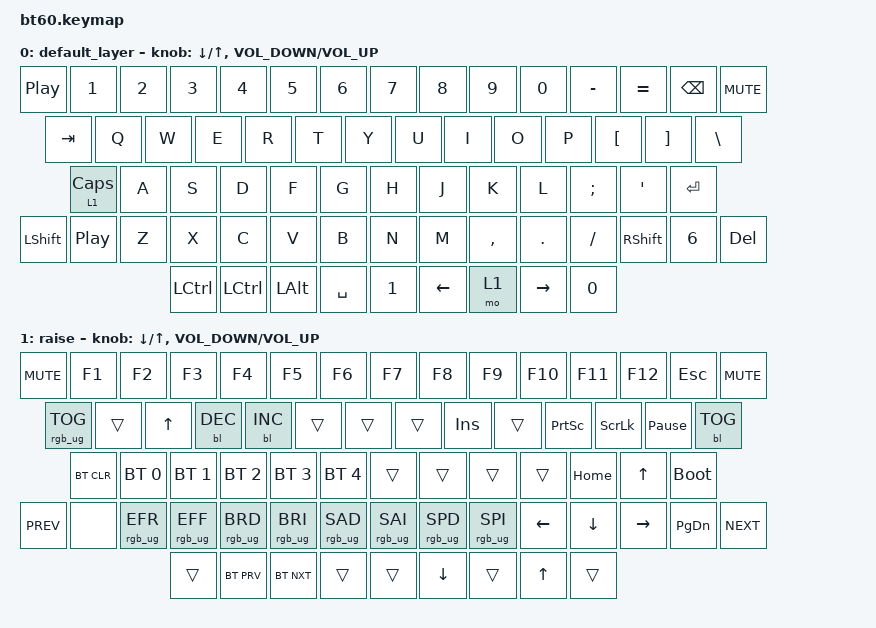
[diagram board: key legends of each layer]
#include <behaviors.dtsi>
#include <dt-bindings/zmk/backlight.h>
#include <dt-bindings/zmk/bt.h>
#include <dt-bindings/zmk/keys.h>
#include <dt-bindings/zmk/rgb.h>

/ {
    keymap {
        compatible = "zmk,keymap";

        default_layer {
            // ------------------------------------------------------------------------------------------
            // | ESC |  1  |  2  |  3  |  4  |  5  |  6  |  7  |  8  |  9  |  0  |  -  |  =  |BKSP | DEL |
            // | TAB  |  Q  |  W  |  E  |  R  |  T  |  Y  |  U  |  I  |  O  |  P  |  [  |  ]  |  |   |
            // | CAPS  |  A  |  S  |  D  |  F  |  G  |  H  |  J  |  K  |  L  |  ;  |  '  |     ENTER    |
            // |  SHIFT|NONE|  Z  |  X  |  C  |  V  |  B  |  N  |  M  |  ,  |  .  | /   | SHFT | UP | 1  |
            // |  CTL  |  WIN  |  ALT  |            SPACE              | ALT | CTRL | LEFT | DOWN | RIGHT |
            // ------------------------------------------------------------------------------------------

            bindings = <
&kp C_PLAY_PAUSE     &kp N1            &kp N2    &kp N3     &kp N4  &kp N5    &kp N6  &kp N7     &kp N8        &kp N9    &kp N0  &kp MINUS        &kp EQUAL  &kp BACKSPACE  &kp C_MUTE
         &kp TAB      &kp Q             &kp W     &kp E      &kp R   &kp T     &kp Y   &kp U      &kp I         &kp O     &kp P   &kp LBKT         &kp RBKT  &kp BACKSLASH
  &lt 1 CAPSLOCK      &kp A             &kp S     &kp D      &kp F   &kp G     &kp H   &kp J      &kp K         &kp L  &kp SEMI    &kp SQT          &kp RET
       &kp LSHFT   &kp C_PP             &kp Z     &kp X      &kp C   &kp V     &kp B   &kp N      &kp M     &kp COMMA   &kp DOT   &kp FSLH  &kp RIGHT_SHIFT   &kp NUMBER_6     &kp DEL
                  &kp LCTRL  &kp LEFT_CONTROL  &kp LALT  &kp SPACE  &kp N1  &kp LEFT   &mo 1  &kp RIGHT  &kp NUMBER_0
            >;

            sensor-bindings = <&inc_dec_kp DOWN_ARROW UP_ARROW &inc_dec_kp C_VOLUME_DOWN C_VOLUME_UP>;
        };

        raise {
            bindings = <
     &kp C_MUTE        &kp F1           &kp F2           &kp F3           &kp F4           &kp F5           &kp F6           &kp F7           &kp F8           &kp F9         &kp F10         &kp F11          &kp F12  &kp ESCAPE  &kp C_MUTE
&rgb_ug RGB_TOG        &trans           &kp UP       &bl BL_DEC       &bl BL_INC           &trans           &trans           &trans          &kp INS           &trans       &kp PSCRN        &kp SLCK  &kp PAUSE_BREAK  &bl BL_TOG
     &bt BT_CLR  &bt BT_SEL 0     &bt BT_SEL 1     &bt BT_SEL 2     &bt BT_SEL 3     &bt BT_SEL 4           &trans           &trans           &trans           &trans        &kp HOME    &kp UP_ARROW      &bootloader
     &kp C_PREV         &none  &rgb_ug RGB_EFR  &rgb_ug RGB_EFF  &rgb_ug RGB_BRD  &rgb_ug RGB_BRI  &rgb_ug RGB_SAD  &rgb_ug RGB_SAI  &rgb_ug RGB_SPD  &rgb_ug RGB_SPI  &kp LEFT_ARROW  &kp DOWN_ARROW  &kp RIGHT_ARROW   &kp PG_DN  &kp C_NEXT
                       &trans       &bt BT_PRV       &bt BT_NXT           &trans           &trans         &kp DOWN           &trans           &kp UP           &trans
            >;

            sensor-bindings = <&inc_dec_kp DOWN_ARROW UP_ARROW &inc_dec_kp C_VOLUME_DOWN C_VOLUME_UP>;
        };
    };
};
